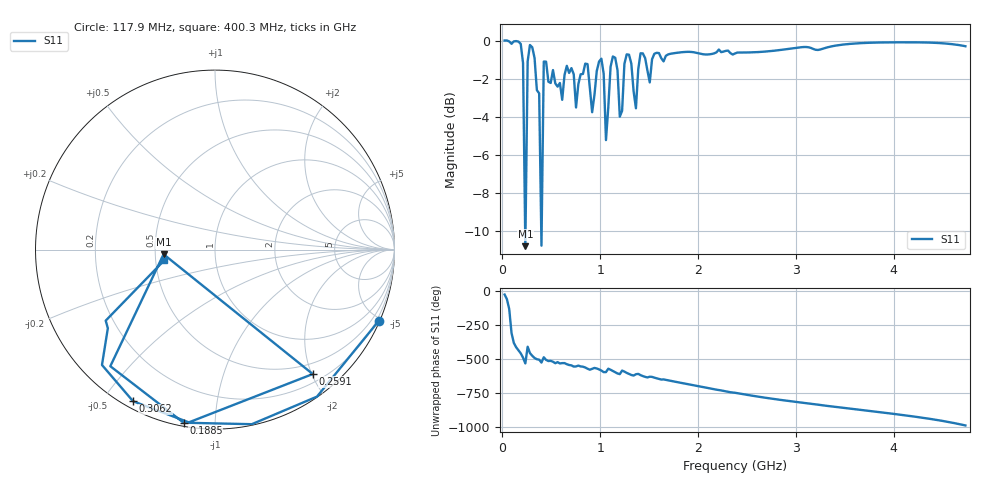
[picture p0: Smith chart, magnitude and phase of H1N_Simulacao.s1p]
!Keysight Technologies N9923A: A.08.19
!Date: Thursday, 16 January 2020 11:30:00
!TimeZone: (GMT-03:00) Brasilia!Model: N9923A
!Serial: MY51491501
!GPS Latitude:
!GPS Longitude:
!GPS TimeStamp: 0001-01-01 00:00:00Z
!GPS Seconds Since Last Read: 0
!CHECKSUM:1078980270
!Correction: S11(ON U)
!S1P File: Measurement: S11:
# Hz S DB R 50
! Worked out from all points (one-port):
!   201 points, 23.74 MHz to 4.731 GHz, reference 50 ohm
!   lowest |S11| = -10.8 dB at 235.6 MHz (marker M1), VSWR 1.81, Z = 27.7 - j1.57 ohm
!   |S11| at or under -10 dB: 233.6 MHz to 237.6 MHz (4.007 MHz wide, 1.7 % of centre); 398 MHz to 402.3 MHz (4.278 MHz wide, 1.07 % of centre)
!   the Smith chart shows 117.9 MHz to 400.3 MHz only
!   S11 on the Smith chart (normalised r, x): 117.9 MHz: 0.06, -4.80; 188.5 MHz: 0.02, -0.83; 259.1 MHz: 0.32, -2.02; 306.2 MHz: 0.03, -0.60; 400.3 MHz: 0.56, -0.07
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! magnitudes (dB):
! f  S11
! 23.74 MHz  0.0
! 117.9 MHz  0.0
! 188.5 MHz  -0.2
! 212 MHz  -1.2
! 235.6 MHz  -10.8
! 259.1 MHz  -1.1
! 306.2 MHz  -0.4
! 376.8 MHz  -2.8
! 400.3 MHz  -10.8
! 423.9 MHz  -1.1
! 612.1 MHz  -3.1
! 659.2 MHz  -1.3
! 871 MHz  -1.2
! 918.1 MHz  -3.8
! 1.012 GHz  -1.0
! 1.059 GHz  -5.2
! 1.13 GHz  -0.8
! 1.201 GHz  -4.0
! 1.271 GHz  -0.7
! 1.365 GHz  -3.6
! 1.412 GHz  -0.7
! 1.507 GHz  -2.2
! 1.789 GHz  -0.6
! 2.377 GHz  -0.7
! 2.966 GHz  -0.4
! 3.554 GHz  -0.2
! 4.143 GHz  -0.1
! 4.731 GHz  -0.3
